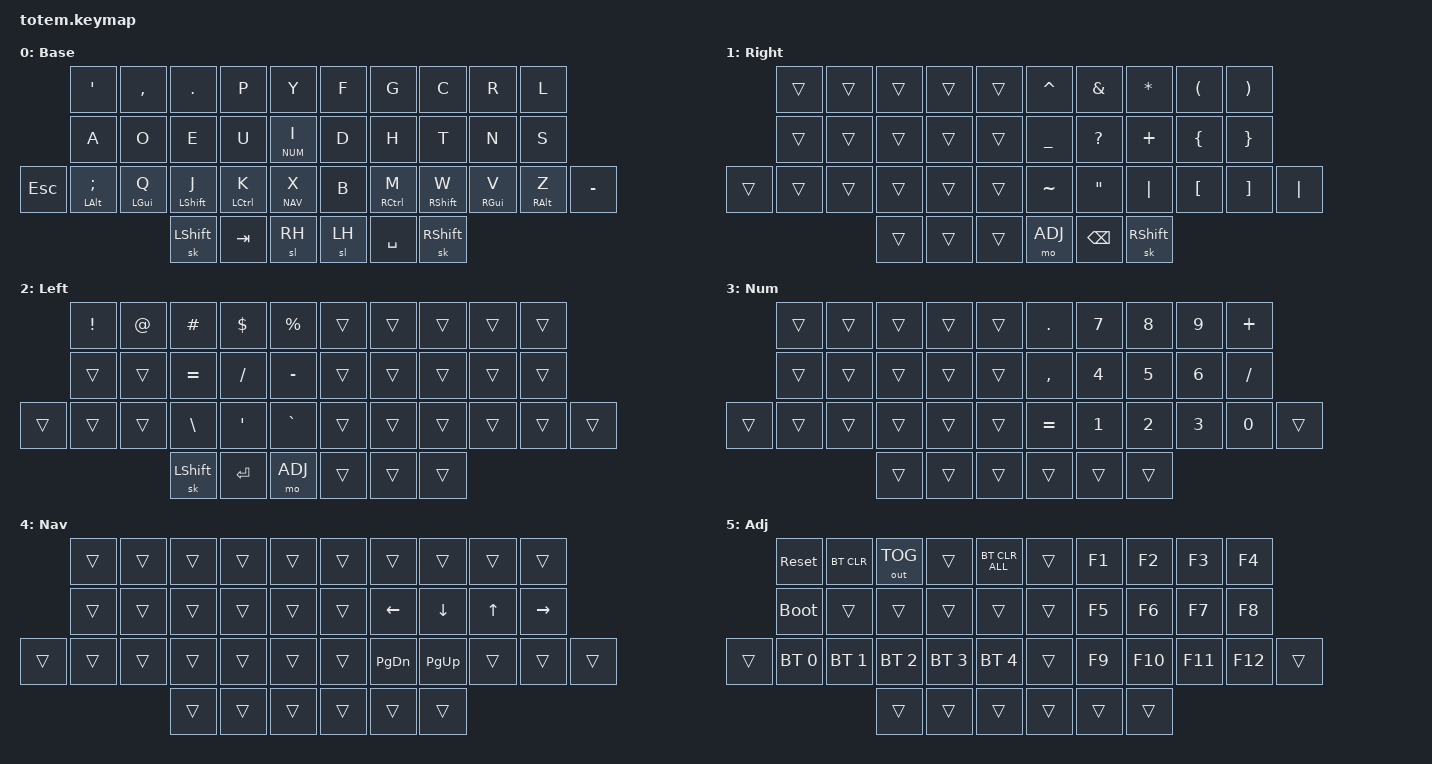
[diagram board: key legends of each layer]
//
//                                                        ▀▀▀▀▀     ▀▀▀▀▀          ▀▀█▀▀
//                                                        ▄▀▀▀▄  ▄  ▄▀▀▀▄  ▄  ▄▀▀▀▄  █  ▄▀▀▀▄
//                                                        █   █  █  █   █  █  █   █  █  █   █
//                                                         ▀▀▀   █   ▀▀▀   █   ▀▀▀   ▀   ▀▀▀
//                                                               █      ▄▄▄█▄▄▄    █   █  
//                                                               ▀      █  █  █     █▄█
//                                                             ▀▀▀▀▀    █  █  █      ▀
//                                                                      ▀  ▀  ▀
//
// ▄▄▄▄▄▄▄▄▄▄▄▄▄▄▄▄▄▄▄▄▄▄▄▄▄▄▄▄▄▄▄▄▄▄▄▄▄▄▄▄▄▄▄▄▄▄▄▄▄▄▄▄▄▄▄▄▄▄▄▄▄▄▄▄▄▄▄▄▄▄▄▄▄▄▄▄▄▄▄▄▄▄▄▄▄▄▄▄▄▄▄▄▄▄▄▄▄▄▄▄▄▄▄▄▄▄▄▄▄▄▄▄▄▄▄▄▄▄▄▄▄▄▄▄▄▄▄▄▄▄▄▄▄▄▄▄▄▄▄▄▄▄▄▄▄▄▄▄▄

#include <behaviors.dtsi>
#include <dt-bindings/zmk/bt.h>
#include <dt-bindings/zmk/keys.h>
#include <dt-bindings/zmk/outputs.h>
#include <dt-bindings/zmk/pointing.h>

#include "zmk-helpers/key-labels/totem.h"

#define KEYS_L LT0 LT1 LT2 LT3 LT4 LM0 LM1 LM2 LM3 LM4 LB0 LB1 LB2 LB3 LB4 LB5  // Left-hand keys.
#define KEYS_R RT0 RT1 RT2 RT3 RT4 RM0 RM1 RM2 RM3 RM4 RB0 RB1 RB2 RB3 RB4 RB5 // Right-hand keys.
#define THUMBS LH2 LH1 LH0 RH0 RH1 RH2                                      // Thumb keys.


#define BASE 0
#define RH   1
#define LH   2
#define NUM  3
#define NAV  4
#define ADJ  5

&mt {
    quick-tap-ms = <100>;
    global-quick-tap;
    flavor = "tap-preferred";
    // 170 might be too fast for tapping term
    tapping-term-ms = <170>;
};

/ {
    combos {
        compatible = "zmk,combos";

        combo_esc {
            timeout-ms = <50>;
            key-positions = <0 1>;
            bindings = <&kp ESC>;
        };
    };

    // TODO don't need this
    macros {
        gif: gif {
            label = "giphy";
            compatible = "zmk,behavior-macro";
            #binding-cells = <0>;
            bindings =
                <&macro_press>,
                <&kp LSHFT>,
                <&macro_tap>,
                <&kp N2>,
                <&macro_release>,
                <&kp LSHFT>,
                <&macro_tap>,
                <&kp G &kp I &kp F>;
        };
    };

    behaviors {
        hml: home_row_mod_left {
            compatible = "zmk,behavior-hold-tap";
            #binding-cells = <2>;
            flavor = "balanced";
            require-prior-idle-ms = <150>;
            tapping-term-ms = <280>;
            quick-tap-ms = <175>;
            bindings = <&kp>, <&kp>;
            hold-trigger-key-positions = < KEYS_R THUMBS >; // List of keys on the right side of the keyboard
            hold-trigger-on-release;
        };
        hmr: home_row_mod_right {
            compatible = "zmk,behavior-hold-tap";
            #binding-cells = <2>;
            flavor = "balanced";
            require-prior-idle-ms = <150>;
            tapping-term-ms = <280>;
            quick-tap-ms = <175>;
            bindings = <&kp>, <&kp>;
            hold-trigger-key-positions = < KEYS_L THUMBS >; // List of keys on the left side of the keyboard
            hold-trigger-on-release;
        };
    };

    keymap {
        compatible = "zmk,keymap";

        // ▄▄▄▄▄▄▄▄▄▄▄▄▄▄▄▄▄▄▄▄▄▄▄▄▄▄▄▄▄▄▄▄▄▄▄▄▄▄▄▄▄▄▄▄▄▄▄▄▄▄▄▄▄▄▄▄▄▄▄▄▄▄▄▄▄▄▄▄▄▄▄▄▄▄▄▄▄▄▄▄▄▄▄▄▄▄▄▄▄▄▄▄▄▄▄▄▄▄▄▄▄▄▄▄▄▄▄▄▄▄▄▄▄▄▄▄▄▄▄▄▄▄▄▄▄▄▄▄▄▄▄▄▄▄▄▄▄▄▄▄▄▄▄▄▄▄▄▄▄

        base_layer {
            // ┏━━━━━━━━━━━━━━━━━━━━━━━━━━━━━━━━━━━━━━━┓

            label = "BASE";
            display-name = "Base";

            // ┗━━━━━━━━━━━━━━━━━━━━━━━━━━━━━━━━━━━━━━━┛
            //             ┏━━━━━━━━━━━┳━━━━━━━━━━━┳━━━━━━━━━━━┳━━━━━━━━━━━┳━━━━━━━━━━━┓   ┏━━━━━━━━━━━┳━━━━━━━━━━━┳━━━━━━━━━━━┳━━━━━━━━━━━┳━━━━━━━━━━━┓
            //             ┃     '     ┃     ,     ┃     .     ┃     P     ┃     Y     ┃   ┃     F     ┃     G     ┃     C     ┃     R     ┃     L     ┃
            //             ┣━━━━━━━━━━━╋━━━━━━━━━━━╋━━━━━━━━━━━╋━━━━━━━━━━━╋━━━━━━━━━━━┫   ┣━━━━━━━━━━━╋━━━━━━━━━━━╋━━━━━━━━━━━╋━━━━━━━━━━━╋━━━━━━━━━━━┫
            //             ┃     A     ┃     O     ┃     E     ┃     U     ┃  I (NUM)  ┃   ┃     D     ┃     H     ┃     T     ┃     N     ┃     S     ┃
            // ┏━━━━━━━━━━━╋━━━━━━━━━━━╋━━━━━━━━━━━╋━━━━━━━━━━━╋━━━━━━━━━━━╋━━━━━━━━━━━┫   ┣━━━━━━━━━━━╋━━━━━━━━━━━╋━━━━━━━━━━━╋━━━━━━━━━━━╋━━━━━━━━━━━╋━━━━━━━━━━━┓
            // ┃    ESC    ┃     ;     ┃     Q     ┃     J     ┃     K     ┃  X (NAV)  ┃   ┃     B     ┃     M     ┃     W     ┃     V     ┃     Z     ┃     -     ┃
            // ┗━━━━━━━━━━━┻━━━━━━━━━━━┻━━━━━━━━━━━╋━━━━━━━━━━━╋━━━━━━━━━━━╋━━━━━━━━━━━┫   ┣━━━━━━━━━━━╋━━━━━━━━━━━╋━━━━━━━━━━━╋━━━━━━━━━━━┻━━━━━━━━━━━┻━━━━━━━━━━━┛
            //                                     ┃   SHIFT   ┃    TAB    ┃   L(RH)   ┃   ┃   L(LH)   ┃    SPC    ┃   SHIFT   ┃
            //                                     ┗━━━━━━━━━━━┻━━━━━━━━━━━┻━━━━━━━━━━━┛   ┗━━━━━━━━━━━┻━━━━━━━━━━━┻━━━━━━━━━━━┛

            bindings = <
                  &kp SQT        &kp COMMA    &kp DOT       &kp P        &kp Y            &kp F        &kp G        &kp C          &kp R       &kp L
                  &kp A          &kp O        &kp E         &kp U        &lt NUM I        &kp D        &kp H        &kp T          &kp N       &kp S 
         &kp ESC  &hml LALT SEMI &hml LGUI Q  &hml LSHFT J  &hml LCTRL K &lt NAV X        &kp B        &hmr RCTRL M &hmr RSHFT W   &hmr RGUI V &hmr RALT Z       &kp MINUS
                                              &sk LSHIFT    &kp TAB      &sl RH           &sl LH       &kp SPACE    &sk RSHIFT
            >;
        };

        // ▄▄▄▄▄▄▄▄▄▄▄▄▄▄▄▄▄▄▄▄▄▄▄▄▄▄▄▄▄▄▄▄▄▄▄▄▄▄▄▄▄▄▄▄▄▄▄▄▄▄▄▄▄▄▄▄▄▄▄▄▄▄▄▄▄▄▄▄▄▄▄▄▄▄▄▄▄▄▄▄▄▄▄▄▄▄▄▄▄▄▄▄▄▄▄▄▄▄▄▄▄▄▄▄▄▄▄▄▄▄▄▄▄▄▄▄▄▄▄▄▄▄▄▄▄▄▄▄▄▄▄▄▄▄▄▄▄▄▄▄▄▄▄▄▄▄▄▄▄

        right_hand_layer {
            // ┏━━━━━━━━━━━━━━━━━━━━━━━━━━━━━━━━━━━━━━━┓

            label = "RH";
            display-name = "Right";

            // ┗━━━━━━━━━━━━━━━━━━━━━━━━━━━━━━━━━━━━━━━┛
            //             ┏━━━━━━━━━━━┳━━━━━━━━━━━┳━━━━━━━━━━━┳━━━━━━━━━━━┳━━━━━━━━━━━┓   ┏━━━━━━━━━━━┳━━━━━━━━━━━┳━━━━━━━━━━━┳━━━━━━━━━━━┳━━━━━━━━━━━┓
            //             ┃           ┃           ┃           ┃           ┃           ┃   ┃     ^     ┃     &     ┃     *     ┃     (     ┃     )     ┃
            //             ┣━━━━━━━━━━━╋━━━━━━━━━━━╋━━━━━━━━━━━╋━━━━━━━━━━━╋━━━━━━━━━━━┫   ┣━━━━━━━━━━━╋━━━━━━━━━━━╋━━━━━━━━━━━╋━━━━━━━━━━━╋━━━━━━━━━━━┫
            //             ┃           ┃           ┃           ┃           ┃           ┃   ┃     _     ┃     ?     ┃     +     ┃     {     ┃     }     ┃
            // ┏━━━━━━━━━━━╋━━━━━━━━━━━╋━━━━━━━━━━━╋━━━━━━━━━━━╋━━━━━━━━━━━╋━━━━━━━━━━━┫   ┣━━━━━━━━━━━╋━━━━━━━━━━━╋━━━━━━━━━━━╋━━━━━━━━━━━╋━━━━━━━━━━━╋━━━━━━━━━━━┓
            // ┃           ┃           ┃           ┃           ┃           ┃           ┃   ┃     ~     ┃     "     ┃     |     ┃     [     ┃     ]     ┃     -     ┃
            // ┗━━━━━━━━━━━┻━━━━━━━━━━━┻━━━━━━━━━━━╋━━━━━━━━━━━╋━━━━━━━━━━━╋━━━━━━━━━━━┫   ┣━━━━━━━━━━━╋━━━━━━━━━━━╋━━━━━━━━━━━╋━━━━━━━━━━━┻━━━━━━━━━━━┻━━━━━━━━━━━┛
            //                                     ┃           ┃           ┃           ┃   ┃   L(ADJ)  ┃   BSPC    ┃   SHIFT   ┃
            //                                     ┗━━━━━━━━━━━┻━━━━━━━━━━━┻━━━━━━━━━━━┛   ┗━━━━━━━━━━━┻━━━━━━━━━━━┻━━━━━━━━━━━┛

            bindings = <
                  &trans    &trans     &trans     &trans     &trans            &kp CARET    &kp AMPS     &kp STAR        &kp LPAR    &kp RPAR
                  &trans    &trans     &trans     &trans     &trans            &kp UNDER    &kp QMARK    &kp PLUS        &kp LBRC    &kp RBRC 
         &trans   &trans    &trans     &trans     &trans     &trans            &kp TILDE    &kp DQT      &kp PIPE          &kp LBKT    &kp RBKT       &kp PIPE
                                       &trans     &trans     &trans            &mo ADJ      &kp BSPC     &sk RSHIFT
            >;
        };

        // ▄▄▄▄▄▄▄▄▄▄▄▄▄▄▄▄▄▄▄▄▄▄▄▄▄▄▄▄▄▄▄▄▄▄▄▄▄▄▄▄▄▄▄▄▄▄▄▄▄▄▄▄▄▄▄▄▄▄▄▄▄▄▄▄▄▄▄▄▄▄▄▄▄▄▄▄▄▄▄▄▄▄▄▄▄▄▄▄▄▄▄▄▄▄▄▄▄▄▄▄▄▄▄▄▄▄▄▄▄▄▄▄▄▄▄▄▄▄▄▄▄▄▄▄▄▄▄▄▄▄▄▄▄▄▄▄▄▄▄▄▄▄▄▄▄▄▄▄▄

        left_hand_layer {
            // ┏━━━━━━━━━━━━━━━━━━━━━━━━━━━━━━━━━━━━━━━┓

            label = "LH";
            display-name = "Left";

            // ┗━━━━━━━━━━━━━━━━━━━━━━━━━━━━━━━━━━━━━━━┛
            //             ┏━━━━━━━━━━━┳━━━━━━━━━━━┳━━━━━━━━━━━┳━━━━━━━━━━━┳━━━━━━━━━━━┓   ┏━━━━━━━━━━━┳━━━━━━━━━━━┳━━━━━━━━━━━┳━━━━━━━━━━━┳━━━━━━━━━━━┓
            //             ┃     !     ┃     @     ┃     #     ┃     $     ┃     %     ┃   ┃           ┃           ┃           ┃           ┃           ┃
            //             ┣━━━━━━━━━━━╋━━━━━━━━━━━╋━━━━━━━━━━━╋━━━━━━━━━━━╋━━━━━━━━━━━┫   ┣━━━━━━━━━━━╋━━━━━━━━━━━╋━━━━━━━━━━━╋━━━━━━━━━━━╋━━━━━━━━━━━┫
            //             ┃           ┃           ┃     =     ┃     /     ┃     -     ┃   ┃           ┃           ┃           ┃           ┃           ┃
            // ┏━━━━━━━━━━━╋━━━━━━━━━━━╋━━━━━━━━━━━╋━━━━━━━━━━━╋━━━━━━━━━━━╋━━━━━━━━━━━┫   ┣━━━━━━━━━━━╋━━━━━━━━━━━╋━━━━━━━━━━━╋━━━━━━━━━━━╋━━━━━━━━━━━╋━━━━━━━━━━━┓
            // ┃           ┃           ┃           ┃     \     ┃     '     ┃     `     ┃   ┃           ┃           ┃           ┃           ┃           ┃           ┃
            // ┗━━━━━━━━━━━┻━━━━━━━━━━━┻━━━━━━━━━━━╋━━━━━━━━━━━╋━━━━━━━━━━━╋━━━━━━━━━━━┫   ┣━━━━━━━━━━━╋━━━━━━━━━━━╋━━━━━━━━━━━╋━━━━━━━━━━━┻━━━━━━━━━━━┻━━━━━━━━━━━┛
            //                                     ┃           ┃    RET    ┃   L(ADJ)  ┃   ┃           ┃           ┃           ┃
            //                                     ┗━━━━━━━━━━━┻━━━━━━━━━━━┻━━━━━━━━━━━┛   ┗━━━━━━━━━━━┻━━━━━━━━━━━┻━━━━━━━━━━━┛

            bindings = <
                  &kp EXCL    &kp AT      &kp HASH      &kp DOLLAR   &kp PRCNT            &trans        &trans        &trans          &trans       &trans
                  &trans      &trans      &kp EQUAL     &kp SLASH    &kp MINUS            &trans        &trans        &trans          &trans       &trans 
         &trans   &trans      &trans      &kp BSLH      &kp SQT      &kp GRAVE            &trans        &trans        &trans          &trans       &trans       &trans
                                          &sk LSHIFT    &kp RET      &mo ADJ              &trans        &trans        &trans
            >;
        };

        // ▄▄▄▄▄▄▄▄▄▄▄▄▄▄▄▄▄▄▄▄▄▄▄▄▄▄▄▄▄▄▄▄▄▄▄▄▄▄▄▄▄▄▄▄▄▄▄▄▄▄▄▄▄▄▄▄▄▄▄▄▄▄▄▄▄▄▄▄▄▄▄▄▄▄▄▄▄▄▄▄▄▄▄▄▄▄▄▄▄▄▄▄▄▄▄▄▄▄▄▄▄▄▄▄▄▄▄▄▄▄▄▄▄▄▄▄▄▄▄▄▄▄▄▄▄▄▄▄▄▄▄▄▄▄▄▄▄▄▄▄▄▄▄▄▄▄▄▄▄

        num_layer {
            // ┏━━━━━━━━━━━━━━━━━━━━━━━━━━━━━━━━━━━━━━━┓

            label = "NUM";
            display-name = "Num";

            // ┗━━━━━━━━━━━━━━━━━━━━━━━━━━━━━━━━━━━━━━━┛
            //             ┏━━━━━━━━━━━┳━━━━━━━━━━━┳━━━━━━━━━━━┳━━━━━━━━━━━┳━━━━━━━━━━━┓   ┏━━━━━━━━━━━┳━━━━━━━━━━━┳━━━━━━━━━━━┳━━━━━━━━━━━┳━━━━━━━━━━━┓
            //             ┃           ┃           ┃           ┃           ┃           ┃   ┃     .     ┃     7     ┃     8     ┃     9     ┃     +     ┃
            //             ┣━━━━━━━━━━━╋━━━━━━━━━━━╋━━━━━━━━━━━╋━━━━━━━━━━━╋━━━━━━━━━━━┫   ┣━━━━━━━━━━━╋━━━━━━━━━━━╋━━━━━━━━━━━╋━━━━━━━━━━━╋━━━━━━━━━━━┫
            //             ┃           ┃           ┃           ┃           ┃           ┃   ┃     ,     ┃     4     ┃     5     ┃     6     ┃     /     ┃
            // ┏━━━━━━━━━━━╋━━━━━━━━━━━╋━━━━━━━━━━━╋━━━━━━━━━━━╋━━━━━━━━━━━╋━━━━━━━━━━━┫   ┣━━━━━━━━━━━╋━━━━━━━━━━━╋━━━━━━━━━━━╋━━━━━━━━━━━╋━━━━━━━━━━━╋━━━━━━━━━━━┓
            // ┃           ┃           ┃           ┃           ┃           ┃           ┃   ┃     =     ┃     1     ┃     2     ┃     3     ┃     0     ┃           ┃
            // ┗━━━━━━━━━━━┻━━━━━━━━━━━┻━━━━━━━━━━━╋━━━━━━━━━━━╋━━━━━━━━━━━╋━━━━━━━━━━━┫   ┣━━━━━━━━━━━╋━━━━━━━━━━━╋━━━━━━━━━━━╋━━━━━━━━━━━┻━━━━━━━━━━━┻━━━━━━━━━━━┛
            //                                     ┃           ┃           ┃           ┃   ┃           ┃           ┃           ┃
            //                                     ┗━━━━━━━━━━━┻━━━━━━━━━━━┻━━━━━━━━━━━┛   ┗━━━━━━━━━━━┻━━━━━━━━━━━┻━━━━━━━━━━━┛

            bindings = <
        &trans       &trans       &trans     &trans    &trans       &kp DOT    &kp N7        &kp N8      &kp N9      &kp PLUS
        &trans       &trans       &trans     &trans    &trans       &kp COMMA  &kp N4        &kp N5      &kp N6      &kp SLASH
&trans  &trans       &trans       &trans     &trans    &trans       &kp EQUAL  &kp N1        &kp N2      &kp N3      &kp N0     &trans
                                  &trans     &trans    &trans       &trans     &trans      &trans
            >;
        };

        // ▄▄▄▄▄▄▄▄▄▄▄▄▄▄▄▄▄▄▄▄▄▄▄▄▄▄▄▄▄▄▄▄▄▄▄▄▄▄▄▄▄▄▄▄▄▄▄▄▄▄▄▄▄▄▄▄▄▄▄▄▄▄▄▄▄▄▄▄▄▄▄▄▄▄▄▄▄▄▄▄▄▄▄▄▄▄▄▄▄▄▄▄▄▄▄▄▄▄▄▄▄▄▄▄▄▄▄▄▄▄▄▄▄▄▄▄▄▄▄▄▄▄▄▄▄▄▄▄▄▄▄▄▄▄▄▄▄▄▄▄▄▄▄▄▄▄▄▄▄

        nav_layer {
            // ┏━━━━━━━━━━━━━━━━━━━━━━━━━━━━━━━━━━━━━━━┓

            label = "NAV";
            display-name = "Nav";

            // ┗━━━━━━━━━━━━━━━━━━━━━━━━━━━━━━━━━━━━━━━┛
            //             ┏━━━━━━━━━━━┳━━━━━━━━━━━┳━━━━━━━━━━━┳━━━━━━━━━━━┳━━━━━━━━━━━┓   ┏━━━━━━━━━━━┳━━━━━━━━━━━┳━━━━━━━━━━━┳━━━━━━━━━━━┳━━━━━━━━━━━┓
            //             ┃           ┃           ┃           ┃           ┃           ┃   ┃           ┃           ┃           ┃           ┃           ┃
            //             ┣━━━━━━━━━━━╋━━━━━━━━━━━╋━━━━━━━━━━━╋━━━━━━━━━━━╋━━━━━━━━━━━┫   ┣━━━━━━━━━━━╋━━━━━━━━━━━╋━━━━━━━━━━━╋━━━━━━━━━━━╋━━━━━━━━━━━┫
            //             ┃           ┃           ┃           ┃           ┃           ┃   ┃           ┃   left    ┃    down   ┃    up     ┃   right   ┃
            // ┏━━━━━━━━━━━╋━━━━━━━━━━━╋━━━━━━━━━━━╋━━━━━━━━━━━╋━━━━━━━━━━━╋━━━━━━━━━━━┫   ┣━━━━━━━━━━━╋━━━━━━━━━━━╋━━━━━━━━━━━╋━━━━━━━━━━━╋━━━━━━━━━━━╋━━━━━━━━━━━┓
            // ┃           ┃           ┃           ┃           ┃           ┃           ┃   ┃           ┃   pg_dn   ┃   pg_up   ┃           ┃           ┃           ┃
            // ┗━━━━━━━━━━━┻━━━━━━━━━━━┻━━━━━━━━━━━╋━━━━━━━━━━━╋━━━━━━━━━━━╋━━━━━━━━━━━┫   ┣━━━━━━━━━━━╋━━━━━━━━━━━╋━━━━━━━━━━━╋━━━━━━━━━━━┻━━━━━━━━━━━┻━━━━━━━━━━━┛
            //                                     ┃           ┃           ┃           ┃   ┃           ┃           ┃           ┃
            //                                     ┗━━━━━━━━━━━┻━━━━━━━━━━━┻━━━━━━━━━━━┛   ┗━━━━━━━━━━━┻━━━━━━━━━━━┻━━━━━━━━━━━┛

            bindings = <
            &trans    &trans   &trans   &trans  &trans    &trans  &trans     &trans     &trans  &trans
            &trans    &trans   &trans   &trans  &trans    &trans  &kp LEFT   &kp DOWN   &kp UP  &kp RIGHT
    &trans  &trans    &trans   &trans   &trans  &trans    &trans  &kp PG_DN  &kp PG_UP  &trans  &trans  &trans
                                   &trans    &trans     &trans      &trans   &trans     &trans
            >;
        };

        // ▄▄▄▄▄▄▄▄▄▄▄▄▄▄▄▄▄▄▄▄▄▄▄▄▄▄▄▄▄▄▄▄▄▄▄▄▄▄▄▄▄▄▄▄▄▄▄▄▄▄▄▄▄▄▄▄▄▄▄▄▄▄▄▄▄▄▄▄▄▄▄▄▄▄▄▄▄▄▄▄▄▄▄▄▄▄▄▄▄▄▄▄▄▄▄▄▄▄▄▄▄▄▄▄▄▄▄▄▄▄▄▄▄▄▄▄▄▄▄▄▄▄▄▄▄▄▄▄▄▄▄▄▄▄▄▄▄▄▄▄▄▄▄▄▄▄▄▄▄

        adjust_layer {
            // ┏━━━━━━━━━━━━━━━━━━━━━━━━━━━━━━━━━━━━━━━┓

            label = "ADJ";
            display-name = "Adj";

            // ┗━━━━━━━━━━━━━━━━━━━━━━━━━━━━━━━━━━━━━━━┛
            //             ┏━━━━━━━━━━━┳━━━━━━━━━━━┳━━━━━━━━━━━┳━━━━━━━━━━━┳━━━━━━━━━━━┓   ┏━━━━━━━━━━━┳━━━━━━━━━━━┳━━━━━━━━━━━┳━━━━━━━━━━━┳━━━━━━━━━━━┓
            //             ┃   RESET   ┃ BT CLEAR  ┃  OUT TOG  ┃           ┃ BT_CLR_ALL┃   ┃           ┃    F1     ┃    F2     ┃    F3     ┃    F4     ┃
            //             ┣━━━━━━━━━━━╋━━━━━━━━━━━╋━━━━━━━━━━━╋━━━━━━━━━━━╋━━━━━━━━━━━┫   ┣━━━━━━━━━━━╋━━━━━━━━━━━╋━━━━━━━━━━━╋━━━━━━━━━━━╋━━━━━━━━━━━┫
            //             ┃ BOOTLOAD  ┃           ┃           ┃           ┃           ┃   ┃           ┃    F5     ┃    F6     ┃    F7     ┃    F8     ┃
            // ┏━━━━━━━━━━━╋━━━━━━━━━━━╋━━━━━━━━━━━╋━━━━━━━━━━━╋━━━━━━━━━━━╋━━━━━━━━━━━┫   ┣━━━━━━━━━━━╋━━━━━━━━━━━╋━━━━━━━━━━━╋━━━━━━━━━━━╋━━━━━━━━━━━╋━━━━━━━━━━━┓
            // ┃           ┃ BT 0      ┃ BT 1      ┃ BT 2      ┃ BT 3      ┃ BT 4      ┃   ┃           ┃    F9     ┃    F10    ┃    F11    ┃    F12    ┃           ┃
            // ┗━━━━━━━━━━━┻━━━━━━━━━━━┻━━━━━━━━━━━╋━━━━━━━━━━━╋━━━━━━━━━━━╋━━━━━━━━━━━┫   ┣━━━━━━━━━━━╋━━━━━━━━━━━╋━━━━━━━━━━━╋━━━━━━━━━━━┻━━━━━━━━━━━┻━━━━━━━━━━━┛
            //                                     ┃           ┃           ┃           ┃   ┃           ┃           ┃           ┃
            //                                     ┗━━━━━━━━━━━┻━━━━━━━━━━━┻━━━━━━━━━━━┛   ┗━━━━━━━━━━━┻━━━━━━━━━━━┻━━━━━━━━━━━┛

            bindings = <
              &sys_reset    &bt BT_CLR    &out OUT_TOG  &trans        &bt BT_CLR_ALL    &trans  &kp F1  &kp F2  &kp F3  &kp F4
              &bootloader   &trans        &trans        &trans        &trans            &trans  &kp F5  &kp F6  &kp F7  &kp F8
       &trans &bt BT_SEL 0  &bt BT_SEL 1  &bt BT_SEL 2  &bt BT_SEL 3  &bt BT_SEL 4      &trans  &kp F9  &kp F10 &kp F11 &kp F12  &trans
                                          &trans        &trans        &trans            &trans  &trans  &trans
            >;
        };
    };
};
